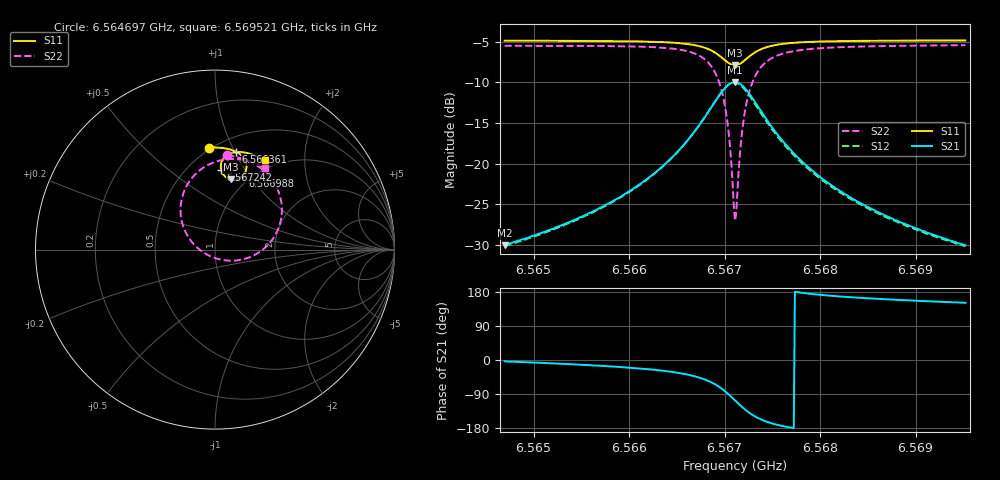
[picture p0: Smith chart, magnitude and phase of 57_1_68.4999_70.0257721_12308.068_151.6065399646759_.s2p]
#  HZ  S  RI  R  50.00
! Rohde & Schwarz Vector Network Analyzer
! Rohde-Schwarz,ZNB20-2Port,1311601062101988,3.16
! Created: UTC 3/20/2024, 4:51:04 PM
! freq[Hz]  re:S11  im:S11  re:S21  im:S21  re:S12  im:S12  re:S22  im:S22
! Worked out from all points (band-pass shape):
!   401 points, 6.564697 GHz to 6.569521 GHz, reference 50 ohm
!   highest |S21| = -9.99 dB at 6.567109 GHz (marker M1); lowest = -30.0 dB at 6.564697 GHz (marker M2)
!   |S21| within 3 dB of the highest: 6.566867 GHz to 6.56735 GHz (482.4 kHz wide, 0.00735 % of centre)
!   lowest |S11| = -7.9 dB at 6.567109 GHz (marker M3), VSWR 2.34, Z = 42.5 + j39.7 ohm
!   |S11| at or under -10 dB: nowhere
!   |S22| runs from -27.0 to -5.4 dB; largest |S21 - S12| = 0.016
!   S11 on the Smith chart (normalised r, x): 6.564697 GHz: 0.48, +0.82; 6.566361 GHz: 0.64, +1.01; 6.566988 GHz: 0.91, +0.93; 6.567242 GHz: 0.71, +0.79; 6.569521 GHz: 0.87, +1.29
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6.5646967e9  -0.0352 0.5684  0.0315 -0.00178  0.0311 -0.00253  0.0683 0.5249
6.5655048e9  0.0327 0.5672  0.0461 -0.0103  0.0454 -0.0109  0.1505 0.5073
6.5659511e9  0.0743 0.5604  0.0611 -0.0215  0.0601 -0.0221  0.2086 0.483
6.5663129e9  0.1128 0.5475  0.0819 -0.0421  0.0808 -0.0432  0.2715 0.4403
6.5663612e9  0.1186 0.5448  0.0857 -0.0467  0.0844 -0.0478  0.2817 0.4312
6.5666145e9  0.151 0.5213  0.1087 -0.0869  0.107 -0.089  0.3413 0.3518
6.5667954e9  0.1724 0.4846  0.1201 -0.152  0.117 -0.1554  0.3726 0.2266
6.566904e9  0.1739 0.4467  0.1038 -0.2185  0.0975 -0.2231  0.3453 0.0994
6.5669884e9  0.155 0.4115  0.0539 -0.2785  0.0429 -0.2819  0.2513 -0.0115
6.5670366e9  0.1324 0.3957  0.00393 -0.3035  -0.0101 -0.3039  0.1575 -0.0538
6.5670969e9  0.095 0.3901  -0.0742 -0.3075  -0.0889 -0.3015  0.0161 -0.0521
6.567109e9  0.0872 0.3916  -0.09 -0.3036  -0.1045 -0.2964  -0.0117 -0.0431
6.5671331e9  0.0724 0.3969  -0.1201 -0.2913  -0.1332 -0.2815  -0.0633 -0.0167
6.5671693e9  0.0537 0.41  -0.158 -0.2633  -0.1682 -0.2509  -0.1259 0.0384
6.5671934e9  0.0444 0.4213  -0.1772 -0.2404  -0.1851 -0.227  -0.1557 0.0816
6.5672417e9  0.0338 0.4458  -0.2003 -0.1918  -0.2037 -0.1781  -0.1878 0.1703
6.5673382e9  0.0371 0.4886  -0.2019 -0.109  -0.2 -0.0984  -0.1761 0.3148
6.5674829e9  0.0641 0.5239  -0.1669 -0.0403  -0.1632 -0.0347  -0.0997 0.4295
6.5676638e9  0.098 0.5399  -0.1262 -0.00634  -0.1229 -0.00344  -0.0143 0.4831
6.5679171e9  0.1347 0.5438  -0.0902 0.00936  -0.0879 0.0108  0.0662 0.503
6.5687253e9  0.2153 0.5269  -0.044 0.0161  -0.0429 0.0165  0.1997 0.489
6.5695213e9  0.2765 0.4997  -0.0276 0.0154  -0.027 0.0155  0.276 0.457
